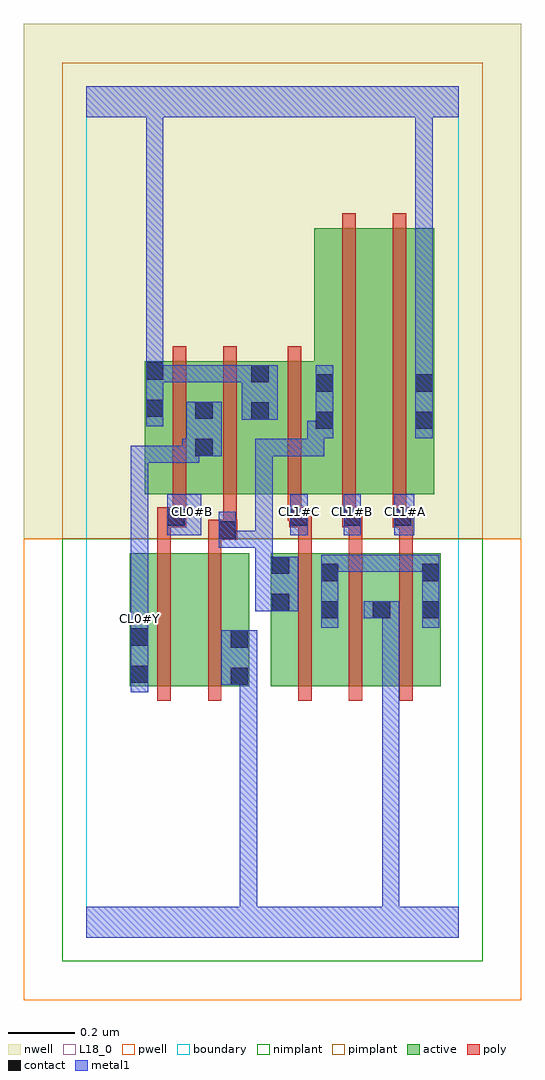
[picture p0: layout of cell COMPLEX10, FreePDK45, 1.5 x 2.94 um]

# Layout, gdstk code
import gdstk
lib = gdstk.Library(unit=1e-6, precision=1e-09)
def R(c, l, rs):  # rectangles x0, y0, x1, y1
    for r in rs: c.add(gdstk.rectangle(r[:2], r[2:], *l))
def A(c, l, x, y, w, h, nx, ny, dx, dy):  # array of equal rectangles
    R(c, l, [(x+i*dx, y+j*dy, x+i*dx+w, y+j*dy+h) for i in range(nx) for j in range(ny)])
active = (1, 0)
pwell = (2, 0)
nwell = (3, 0)
nimplant = (4, 0)
pimplant = (5, 0)
poly = (9, 0)
contact = (10, 0)
metal1 = (11, 0)
L18_0 = (18, 0)
boundary = (235, 0)

complex10 = lib.new_cell('COMPLEX10')
R(complex10, active, [(0.13,0.756,0.19,1.156), (0.13,0.756,0.31,1.156), (0.31,0.756,0.49,1.156), (0.43,0.756,0.49,1.156), (0.554,0.756,0.614,1.156), (0.554,0.756,0.762,1.156), (0.702,0.756,0.918,1.156), (0.702,0.756,0.762,1.128), (0.858,0.756,1.066,1.156), (0.858,0.756,0.918,1.046), (1.006,0.756,1.066,1.156), (0.176,1.334,0.236,1.734), (0.176,1.334,0.384,1.734), (0.324,1.334,0.552,1.734), (0.492,1.334,0.746,1.734), (0.686,1.334,0.866,2.134), (0.866,1.334,1.046,2.134), (0.986,1.334,1.046,2.044), (0.324,1.444,0.384,1.644), (0.492,1.492,0.552,1.726), (0.686,1.526,0.746,1.726)])
R(complex10, pwell, [(-0.188,-0.188,1.308,1.2)])
R(complex10, nwell, [(-0.188,1.2,1.308,2.748)])
R(complex10, nimplant, [(-0.072,-0.072,1.192,1.2)])
R(complex10, pimplant, [(-0.072,1.2,1.192,2.632)])
A(complex10, poly, 0.638, 0.712, 0.04, 0.488, 3, 1, 0.152, 0)
A(complex10, poly, 0.638, 1.16, 0.04, 0.114, 3, 1, 0.152, 0)
R(complex10, poly, [(0.214,0.712,0.254,1.2), (0.366,0.712,0.406,1.2), (0.214,1.16,0.254,1.274), (0.366,1.16,0.406,1.236), (0.366,1.196,0.454,1.256), (0.412,1.216,0.452,1.256), (0.412,1.216,0.452,1.256), (0.412,1.216,0.452,1.33), (0.214,1.234,0.3,1.294), (0.61,1.234,0.678,1.294), (0.77,1.234,0.83,1.294), (0.79,1.234,0.83,1.274), (0.79,1.234,0.83,1.274), (0.922,1.234,0.982,1.294), (0.942,1.234,0.982,1.274), (0.942,1.234,0.982,1.274), (0.26,1.254,0.3,1.33), (0.26,1.254,0.3,1.294), (0.26,1.254,0.3,1.294), (0.606,1.254,0.646,1.33), (0.606,1.254,0.65,1.294), (0.61,1.254,0.65,1.294), (0.77,1.254,0.81,1.33), (0.922,1.254,0.962,1.33), (0.26,1.29,0.3,1.778), (0.412,1.29,0.452,1.778), (0.606,1.29,0.646,1.778), (0.77,1.29,0.81,2.178), (0.922,1.29,0.962,2.178)])
R(complex10, contact, [(0.434,0.76,0.486,0.812), (0.134,0.766,0.186,0.818), (0.434,0.872,0.486,0.924), (0.134,0.878,0.186,0.93), (0.706,0.96,0.758,1.012), (0.862,0.96,0.914,1.012), (1.01,0.96,1.062,1.012), (0.558,0.982,0.61,1.034), (0.706,1.072,0.758,1.124), (1.01,1.072,1.062,1.124), (0.558,1.094,0.61,1.146), (0.398,1.2,0.45,1.252), (0.244,1.238,0.296,1.29), (0.614,1.238,0.666,1.29), (0.774,1.238,0.826,1.29), (0.926,1.238,0.978,1.29), (0.328,1.448,0.38,1.5), (0.69,1.53,0.742,1.582), (0.99,1.53,1.042,1.582), (0.496,1.558,0.548,1.61), (0.328,1.56,0.38,1.612), (0.18,1.566,0.232,1.618), (0.69,1.642,0.742,1.694), (0.99,1.642,1.042,1.694), (0.496,1.67,0.548,1.722), (0.18,1.678,0.232,1.73)])
R(complex10, metal1, [(0,0,1.12,0.092), (0.462,0.04,0.514,0.812), (0.89,0.04,0.942,0.092), (0.89,0.04,0.942,0.092), (0.89,0.04,0.942,0.092), (0.89,0.04,0.942,0.092), (0.89,0.04,0.942,0.092), (0.89,0.04,0.942,0.092), (0.89,0.04,0.942,0.092), (0.89,0.04,0.942,0.092), (0.89,0.04,0.942,1.012), (0.134,0.738,0.186,0.958), (0.406,0.76,0.514,0.924), (0.462,0.76,0.514,0.812), (0.462,0.76,0.514,0.812), (0.462,0.76,0.514,0.812), (0.462,0.76,0.514,0.812), (0.462,0.76,0.514,0.812), (0.462,0.76,0.514,0.812), (0.462,0.76,0.514,0.812), (0.462,0.76,0.514,0.812), (0.462,0.76,0.514,0.812), (0.462,0.76,0.514,0.812), (0.462,0.76,0.514,0.812), (0.462,0.76,0.514,0.812), (0.134,0.906,0.186,0.958), (0.134,0.906,0.186,1.014), (0.706,0.932,0.758,1.152), (1.01,0.932,1.062,1.152), (0.834,0.96,0.942,1.012), (0.89,0.96,0.942,1.012), (0.89,0.96,0.942,1.012), (0.89,0.96,0.942,1.012), (0.89,0.96,0.942,1.012), (0.134,0.962,0.186,1.48), (0.508,0.982,0.638,1.146), (0.508,1.094,0.56,1.224), (0.706,1.1,0.868,1.152), (0.816,1.1,0.868,1.152), (0.816,1.1,0.868,1.152), (0.816,1.1,0.868,1.152), (0.816,1.1,1.062,1.152), (1.01,1.1,1.062,1.152), (1.01,1.1,1.062,1.152), (0.398,1.172,0.456,1.224), (0.398,1.172,0.45,1.28), (0.404,1.172,0.456,1.224), (0.404,1.172,0.56,1.224), (0.508,1.172,0.56,1.224), (0.508,1.172,0.56,1.5), (0.244,1.21,0.346,1.334), (0.614,1.21,0.666,1.334), (0.774,1.21,0.826,1.334), (0.926,1.21,0.986,1.334), (0.134,1.428,0.186,1.48), (0.134,1.428,0.186,1.48), (0.134,1.428,0.186,1.48), (0.134,1.428,0.34,1.48), (0.288,1.428,0.34,1.5), (0.288,1.448,0.352,1.5), (0.3,1.448,0.408,1.612), (0.508,1.448,0.56,1.5), (0.508,1.448,0.56,1.5), (0.508,1.448,0.56,1.5), (0.508,1.448,0.716,1.5), (0.664,1.448,0.716,1.554), (0.664,1.502,0.742,1.554), (0.69,1.502,0.742,1.722), (0.99,1.502,1.042,1.722), (0.18,1.538,0.232,1.758), (0.468,1.558,0.576,1.722), (0.18,1.67,0.232,1.722), (0.18,1.67,0.232,1.722), (0.18,1.67,0.346,1.722), (0.294,1.67,0.346,1.722), (0.294,1.67,0.45,1.722), (0.398,1.67,0.45,1.722), (0.398,1.67,0.52,1.722), (0.99,1.67,1.042,1.722), (0.99,1.67,1.042,1.722), (0.99,1.67,1.042,1.722), (0.99,1.67,1.042,1.722), (0.99,1.67,1.042,1.722), (0.99,1.67,1.042,1.722), (0.99,1.67,1.042,1.722), (0.99,1.67,1.042,1.722), (0.99,1.67,1.042,2.52), (0.18,1.706,0.232,1.758), (0.18,1.706,0.232,1.758), (0.18,1.706,0.232,1.772), (0.18,1.72,0.232,1.772), (0.18,1.72,0.232,1.772), (0.18,1.72,0.232,1.772), (0.18,1.72,0.232,1.772), (0.18,1.72,0.232,1.772), (0.18,1.72,0.232,1.772), (0.18,1.72,0.232,1.772), (0.18,1.72,0.232,2.52), (0,2.468,1.12,2.56), (0.18,2.468,0.232,2.52), (0.18,2.468,0.232,2.52), (0.18,2.468,0.232,2.52), (0.18,2.468,0.232,2.52), (0.18,2.468,0.232,2.52), (0.18,2.468,0.232,2.52)])
A(complex10, L18_0, 0.614, 1.254, 0.052, 0.052, 3, 1, 0.16, 0)
R(complex10, L18_0, [(0,0,1.12,0.092), (0.462,0.04,0.514,0.812), (0.89,0.04,0.942,0.092), (0.89,0.04,0.942,0.092), (0.89,0.04,0.942,0.092), (0.89,0.04,0.942,0.092), (0.89,0.04,0.942,0.092), (0.89,0.04,0.942,0.092), (0.89,0.04,0.942,0.092), (0.89,0.04,0.942,0.092), (0.89,0.04,0.942,1.012), (0.134,0.738,0.186,0.958), (0.406,0.76,0.514,0.924), (0.462,0.76,0.514,0.812), (0.462,0.76,0.514,0.812), (0.462,0.76,0.514,0.812), (0.462,0.76,0.514,0.812), (0.462,0.76,0.514,0.812), (0.462,0.76,0.514,0.812), (0.462,0.76,0.514,0.812), (0.462,0.76,0.514,0.812), (0.462,0.76,0.514,0.812), (0.462,0.76,0.514,0.812), (0.462,0.76,0.514,0.812), (0.462,0.76,0.514,0.812), (0.134,0.906,0.186,1.014), (0.134,0.906,0.186,0.958), (0.134,0.934,0.186,0.986), (0.834,0.96,0.942,1.012), (0.89,0.96,0.942,1.012), (0.89,0.96,0.942,1.012), (0.89,0.96,0.942,1.012), (0.89,0.96,0.942,1.012), (0.134,0.962,0.186,1.48), (0.244,1.21,0.346,1.334), (0.614,1.21,0.666,1.334), (0.774,1.21,0.826,1.334), (0.926,1.21,0.986,1.334), (0.294,1.254,0.346,1.306), (0.134,1.428,0.186,1.48), (0.134,1.428,0.186,1.48), (0.134,1.428,0.186,1.48), (0.134,1.428,0.34,1.48), (0.288,1.428,0.34,1.5), (0.288,1.448,0.352,1.5), (0.3,1.448,0.408,1.612), (0.99,1.502,1.042,1.722), (0.18,1.538,0.232,1.758), (0.468,1.558,0.576,1.722), (0.18,1.67,0.232,1.722), (0.18,1.67,0.232,1.722), (0.18,1.67,0.346,1.722), (0.294,1.67,0.346,1.722), (0.294,1.67,0.45,1.722), (0.398,1.67,0.45,1.722), (0.398,1.67,0.52,1.722), (0.99,1.67,1.042,1.722), (0.99,1.67,1.042,1.722), (0.99,1.67,1.042,1.722), (0.99,1.67,1.042,1.722), (0.99,1.67,1.042,1.722), (0.99,1.67,1.042,1.722), (0.99,1.67,1.042,1.722), (0.99,1.67,1.042,1.722), (0.99,1.67,1.042,2.52), (0.18,1.706,0.232,1.758), (0.18,1.706,0.232,1.758), (0.18,1.706,0.232,1.772), (0.18,1.72,0.232,1.772), (0.18,1.72,0.232,1.772), (0.18,1.72,0.232,1.772), (0.18,1.72,0.232,1.772), (0.18,1.72,0.232,1.772), (0.18,1.72,0.232,1.772), (0.18,1.72,0.232,1.772), (0.18,1.72,0.232,2.52), (0,2.468,1.12,2.56), (0.18,2.468,0.232,2.52), (0.18,2.468,0.232,2.52), (0.18,2.468,0.232,2.52), (0.18,2.468,0.232,2.52), (0.18,2.468,0.232,2.52), (0.18,2.468,0.232,2.52)])
R(complex10, boundary, [(0,0,1.12,2.56)])
complex10.add(gdstk.Label('CL0#B', (0.32,1.28), layer=11, texttype=0))
complex10.add(gdstk.Label('CL0#Y', (0.16,0.96), layer=11, texttype=0))
complex10.add(gdstk.Label('CL1#A', (0.96,1.28), layer=11, texttype=0))
complex10.add(gdstk.Label('CL1#B', (0.8,1.28), layer=11, texttype=0))
complex10.add(gdstk.Label('CL1#C', (0.64,1.28), layer=11, texttype=0))

lib.write_gds('COMPLEX10.gds')
